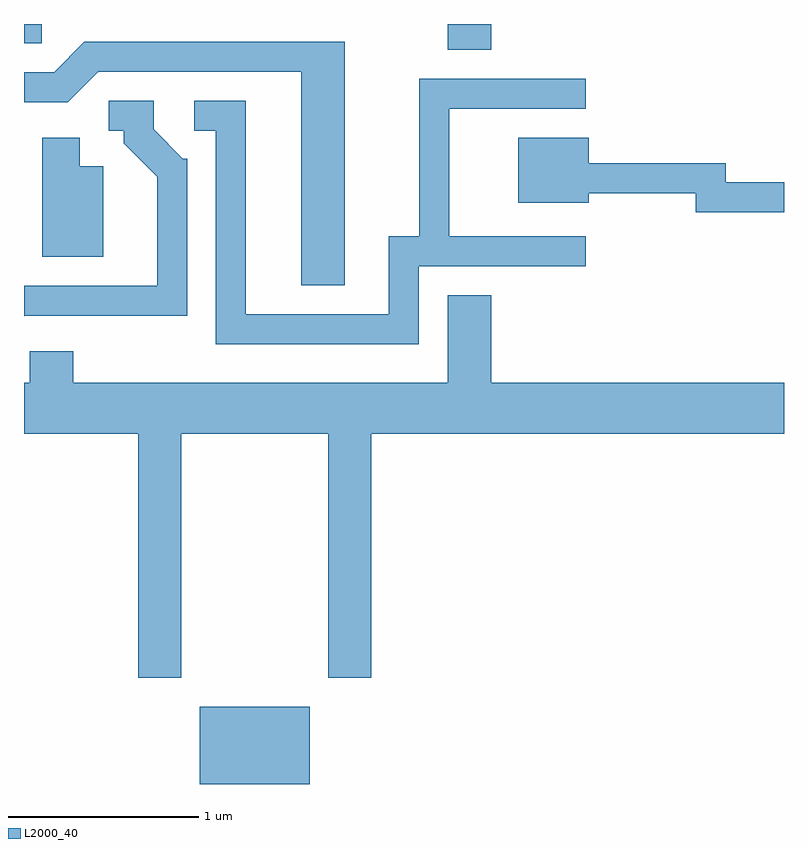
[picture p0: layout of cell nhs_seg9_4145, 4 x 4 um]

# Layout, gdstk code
import gdstk
lib = gdstk.Library(unit=1e-6, precision=1e-09)
def R(c, l, rs):  # rectangles x0, y0, x1, y1
    for r in rs: c.add(gdstk.rectangle(r[:2], r[2:], *l))
def P(c, l, *ps):  # polygons
    for p in ps: c.add(gdstk.Polygon(p, *l))
L2000_40 = (2000, 40)

nhs_seg9_4145 = lib.new_cell('nhs_seg9_4145')
R(nhs_seg9_4145, L2000_40, [(308.536,1974.432,309.114,1974.839), (309.841,1978.296,310.069,1978.432), (307.611,1978.331,307.704,1978.432)])
P(nhs_seg9_4145, L2000_40, [(309.299,1978.339),(307.929,1978.339),(307.769,1978.179),(307.611,1978.179),(307.611,1978.021),(307.842,1978.021),(308.002,1978.181),(309.071,1978.181),(309.071,1977.056),(309.299,1977.056)],
  [(309.689,1977.156),(310.568,1977.156),(310.568,1977.314),(309.849,1977.314),(309.849,1977.986),(310.568,1977.986),(310.568,1978.144),(309.691,1978.144),(309.691,1977.314),(309.531,1977.314),(309.531,1976.904),(308.779,1976.904),(308.779,1978.029),(308.508,1978.029),(308.508,1977.871),(308.621,1977.871),(308.621,1976.746),(309.689,1976.746)],
  [(307.612,1976.896),(308.469,1976.896),(308.469,1977.724),(308.447,1977.724),(308.294,1977.877),(308.294,1978.029),(308.058,1978.029),(308.058,1977.871),(308.136,1977.871),(308.136,1977.804),(308.311,1977.629),(308.311,1977.054),(307.611,1977.054),(307.611,1976.895)],
  [(311.611,1977.599),(311.304,1977.599),(311.304,1977.699),(310.584,1977.699),(310.584,1977.834),(310.211,1977.834),(310.211,1977.491),(310.584,1977.491),(310.584,1977.541),(311.146,1977.541),(311.146,1977.441),(311.611,1977.441)],
  [(308.029,1977.684),(307.904,1977.684),(307.904,1977.834),(307.706,1977.834),(307.706,1977.206),(308.029,1977.206)],
  [(308.439,1976.276),(309.211,1976.276),(309.211,1974.991),(309.439,1974.991),(309.439,1976.276),(311.611,1976.276),(311.611,1976.544),(310.069,1976.544),(310.069,1977.004),(309.841,1977.004),(309.841,1976.544),(307.869,1976.544),(307.869,1976.709),(307.641,1976.709),(307.641,1976.544),(307.611,1976.544),(307.611,1976.276),(308.211,1976.276),(308.211,1974.991),(308.439,1974.991)])

lib.write_gds('nhs_seg9_4145.gds')
